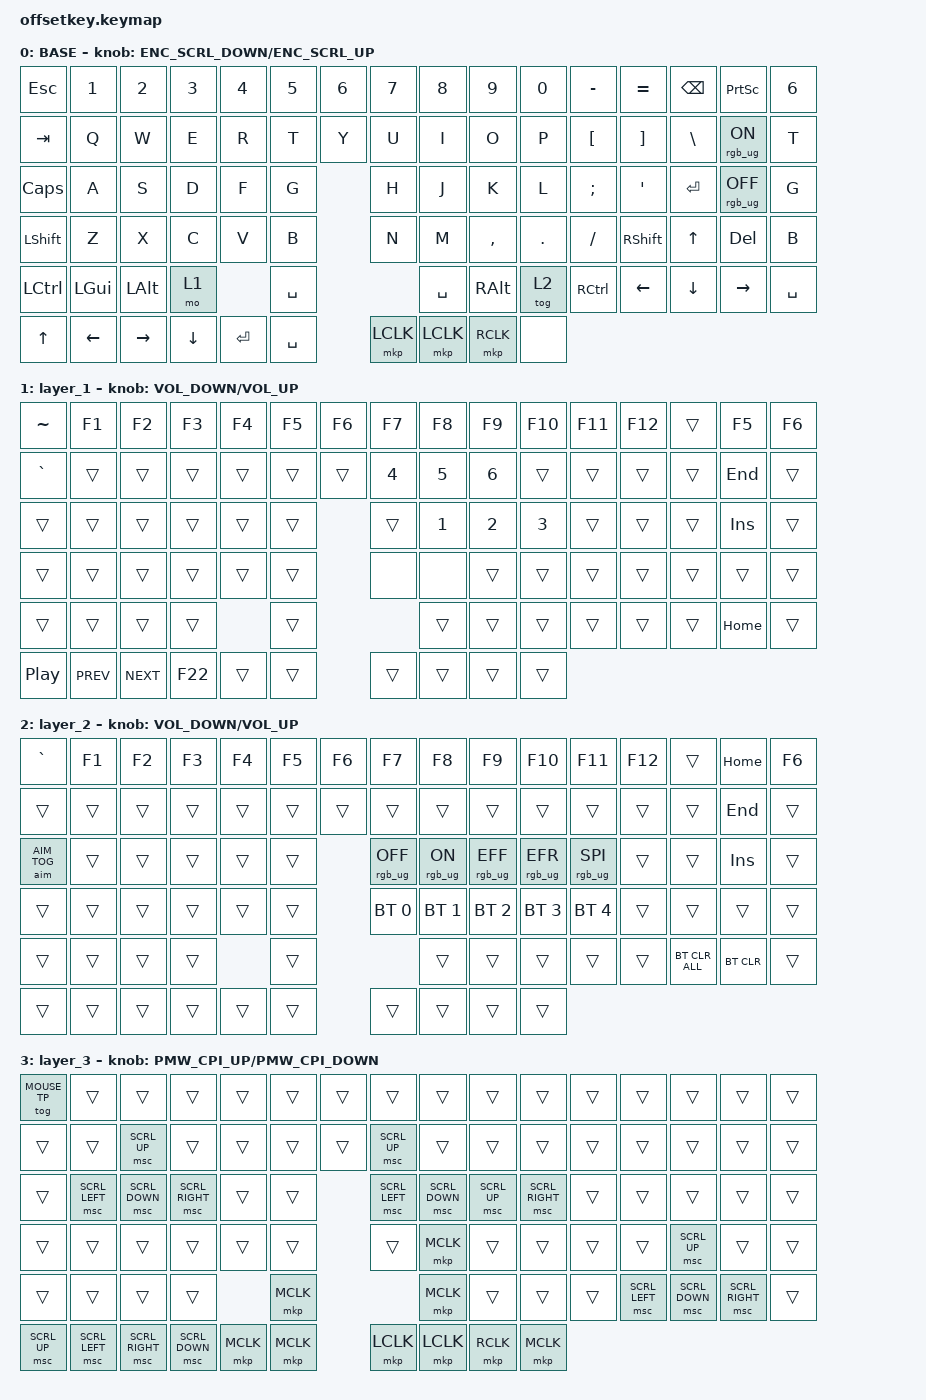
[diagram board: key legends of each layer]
/*
 * ┏━━━━━━━━━━━━━━━━━━━━━━━━━━━━━━━━━━━━━━━━━━━━━━━━━━━━━━━━━━━━━━━━━━━━━━━━━┓
 * ┃                     CONFIGURATION MANAGEMENT                            ┃
 * ┗━━━━━━━━━━━━━━━━━━━━━━━━━━━━━━━━━━━━━━━━━━━━━━━━━━━━━━━━━━━━━━━━━━━━━━━━━┛
 *
 * This keymap works in conjunction with Hyprland keybinds.
 * The Hyprland configuration is managed via CHEZMOI.
 *
 * Related config files:
 *   Hyprland keybinds: ~/.config/hypr/config/keybinds.conf
 *   Chezmoi source:    ~/.local/share/chezmoi/
 *
 * When modifying keybinds that span both configs:
 *   1. Edit this keymap (ZMK) for what the keyboard sends
 *   2. Edit keybinds.conf (Hyprland) for what the system does
 *   3. Rebuild & flash ZMK firmware
 *   4. Run: chezmoi re-add ~/.config/hypr/config/keybinds.conf
 *   5. Run: cd ~/.local/share/chezmoi && git add -A && git commit -m "..."
 *
 * To restore Hyprland config from chezmoi:
 *   chezmoi apply
 *
 * To see what would change:
 *   chezmoi diff
 */

#define BASE 0
#define LOWER 1
#define MOUSE_KEYS 2
#define MOUSE_TP 3
#define MOUSE_TP_SET 4

#include <zephyr/dt-bindings/input/input-event-codes.h>
#include <behaviors/toggle_io.dtsi>
#include <behaviors/on_io.dtsi>
#include <behaviors/off_io.dtsi>
#include <behaviors.dtsi>
#include <dt-bindings/zmk/bt.h>
#include <dt-bindings/zmk/keys.h>
#include <dt-bindings/zmk/pointing.h>

/* Custom scroll values for encoder - default 10 is too small.
 * With trigger-period-ms=16: speed × 16 / 1000 must be >= 1
 * 100 × 16 / 1000 = 1.6 → 1 unit per tick (good!)
 */
#define ENC_SCRL_DOWN MOVE_Y(-100)
#define ENC_SCRL_UP MOVE_Y(100)
#include <dt-bindings/zmk/rgb.h>
#include <behaviors/anti_idle_mode.dtsi>
#include <dt-bindings/anti_idle_mode.h>
#include <behaviors/pmw3610_cpi.dtsi>
#include <dt-bindings/zmk/pmw3610_cpi.h>

/ {
    behaviors {
        ltq: ltq {
            compatible = "zmk,behavior-hold-tap";
            label = "LTQ";
            bindings = <&mo>, <&kp>;

            #binding-cells = <2>;
            tapping-term-ms = <200>;
            quick-tap-ms = <180>;
        };

        /* Mouse scroll behavior for encoder rotation */
        inc_dec_msc: inc_dec_msc {
            compatible = "zmk,behavior-sensor-rotate-var";
            #sensor-binding-cells = <2>;
            bindings = <&msc>, <&msc>;
            tap-ms = <20>;
        };
    };

    combos {
        compatible = "zmk,combos";

        flash {
            bindings = <&bootloader>;
            key-positions = <0 11>;
        };

        /* Toggle Layer 3 (MOUSE_TP) with Left Fn + Right Fn */
        toggle_layer3 {
            bindings = <&tog MOUSE_TP>;
            key-positions = <65 69>;
            layers = <BASE MOUSE_TP>;
        };
    };

    /* Anti-idle: keeps keyboard awake when enabled
     * Sends tiny mouse movements every 60s to prevent idle timeout
     * Toggle with &aim AIM_TOG on Layer 2 (CAPS position)
     */

    /* G604 Mouse F-Key Reservations (do not use on keyboard):
     * F14 - Button 6
     * F15 - Button 7
     * F16 - Button 8
     * F17 - Button 9
     * F18 - Button 10
     * F19 - Button 11
     * F20 - Button 12
     * F21 - Button 3
     * Available: F13, F22, F23, F24
     */
    anti_idle {
        compatible = "zmk,anti-idle-generic";
        interval-ms = <60000>;
        bindings = <&mmv MOVE_DOWN &mmv MOVE_UP>;
        tap_ms = <40>;
        wait_ms = <200>;
    };

    keymap {
        compatible = "zmk,keymap";

        BASE {
            bindings = <
&kp ESC       &kp N1          &kp N2           &kp N3          &kp N4     &kp N5     &kp N6      &kp N7     &kp N8     &kp N9         &kp N0   &kp MINUS  &kp EQUAL  &kp BSPC      &kp PSCRN                           &kp NUMBER_6
&kp TAB       &kp Q           &kp W            &kp E           &kp R      &kp T                  &kp Y      &kp U      &kp I          &kp O    &kp P      &kp LBKT   &kp RBKT      &kp BSLH         &rgb_ug RGB_ON  &kp T
&kp CAPS      &kp A           &kp S            &kp D           &kp F      &kp G                  &kp H      &kp J      &kp K          &kp L    &kp SEMI   &kp APOS   &kp ENTER     &rgb_ug RGB_OFF                  &kp G
&kp LSHFT     &kp Z           &kp X            &kp C           &kp V      &kp B                  &kp N      &kp M      &kp COMMA      &kp DOT  &kp FSLH   &kp RSHFT  &kp UP_ARROW  &kp DELETE                       &kp B
&kp LCTRL     &kp LEFT_GUI    &kp LEFT_ALT     &mo 1                      &kp SPACE                         &kp SPACE  &kp RIGHT_ALT  &tog 2   &kp RCTRL  &kp LEFT   &kp DOWN      &kp RIGHT                        &kp SPACE
&kp UP_ARROW  &kp LEFT_ARROW  &kp RIGHT_ARROW  &kp DOWN_ARROW  &kp ENTER  &kp SPACE              &mkp LCLK  &mkp LCLK  &mkp RCLK      &none
            >;

            label = "BASE";
            sensor-bindings = <&inc_dec_msc ENC_SCRL_DOWN ENC_SCRL_UP>;
        };

        layer_1 {
            bindings = <
&kp TILDE  &kp F1  &kp F2  &kp F3  &kp F4  &kp F5  &kp F6      &kp F7  &kp F8        &kp F9        &kp F10       &kp F11  &kp F12  &trans  &kp F5             &kp F6
&kp GRAVE  &trans  &trans  &trans  &trans  &trans              &trans  &kp NUMBER_4  &kp NUMBER_5  &kp NUMBER_6  &trans   &trans   &trans  &trans      &kp END  &trans
&trans     &trans  &trans  &trans  &trans  &trans              &trans  &kp NUMBER_1  &kp NUMBER_2  &kp NUMBER_3  &trans   &trans   &trans  &kp INSERT           &trans
&trans     &trans  &trans  &trans  &trans  &trans              &none   &none         &trans        &trans        &trans   &trans   &trans  &trans               &trans
&trans     &trans  &trans  &trans          &trans                      &trans        &trans        &trans        &trans   &trans   &trans  &kp HOME             &trans
&kp C_PLAY_PAUSE  &kp C_PREV  &kp C_NEXT  &kp F22  &trans  &trans              &trans  &trans        &trans        &trans
            >;

            sensor-bindings = <&inc_dec_kp C_VOLUME_DOWN C_VOLUME_UP>;
        };

        layer_2 {
            bindings = <
&kp GRAVE      &kp F1  &kp F2  &kp F3  &kp F4  &kp F5  &kp F6      &kp F7           &kp F8          &kp F9           &kp F10          &kp F11          &kp F12  &trans          &kp HOME             &kp F6
&trans         &trans  &trans  &trans  &trans  &trans              &trans           &trans          &trans           &trans           &trans           &trans   &trans          &trans      &kp END  &trans
&aim AIM_TOG   &trans  &trans  &trans  &trans  &trans              &rgb_ug RGB_OFF  &rgb_ug RGB_ON  &rgb_ug RGB_EFF  &rgb_ug RGB_EFR  &rgb_ug RGB_SPI  &trans   &trans          &kp INSERT           &trans
&trans         &trans  &trans  &trans  &trans  &trans              &bt BT_SEL 0     &bt BT_SEL 1    &bt BT_SEL 2     &bt BT_SEL 3     &bt BT_SEL 4     &trans   &trans          &trans               &trans
&trans         &trans  &trans  &trans          &trans                               &trans          &trans           &trans           &trans           &trans   &bt BT_CLR_ALL  &bt BT_CLR           &trans
&trans         &trans  &trans  &trans  &trans  &trans              &trans           &trans          &trans           &trans
            >;

            sensor-bindings = <&inc_dec_kp C_VOLUME_DOWN C_VOLUME_UP>;
        };

        /* MOUSE_TP Layer: Trackball settings and scroll mode
         * Access: Left Fn + Right Fn (combo toggle)
         * Features:
         *   - Encoder adjusts CPI (200-3200, step 50)
         *   - WASD/HJKL/Arrows for scroll directions
         *   - Space for middle click
         *   - Mouse buttons accessible
         */
        layer_3 {
            bindings = <
&tog MOUSE_TP  &trans           &trans              &trans             &trans           &trans  &trans      &trans           &trans              &trans             &trans           &trans  &trans  &trans  &trans          &trans
&trans         &trans           &msc SCRL_UP        &trans             &trans           &trans              &trans           &msc SCRL_UP        &trans             &trans           &trans  &trans  &trans  &trans  &trans  &trans
&trans         &msc SCRL_LEFT   &msc SCRL_DOWN      &msc SCRL_RIGHT    &trans           &trans              &msc SCRL_LEFT   &msc SCRL_DOWN      &msc SCRL_UP       &msc SCRL_RIGHT  &trans  &trans  &trans  &trans          &trans
&trans         &trans           &trans              &trans             &trans           &trans              &trans           &mkp MCLK           &trans             &trans           &trans  &trans  &msc SCRL_UP    &trans          &trans
&trans         &trans           &trans              &trans                              &mkp MCLK                            &mkp MCLK           &trans             &trans           &trans  &msc SCRL_LEFT  &msc SCRL_DOWN  &msc SCRL_RIGHT     &trans
&msc SCRL_UP   &msc SCRL_LEFT   &msc SCRL_RIGHT     &msc SCRL_DOWN     &mkp MCLK        &mkp MCLK           &mkp LCLK        &mkp LCLK           &mkp RCLK          &mkp MCLK
            >;

            sensor-bindings = <&inc_dec_cpi PMW_CPI_UP PMW_CPI_DOWN>;
        };
    };
};
